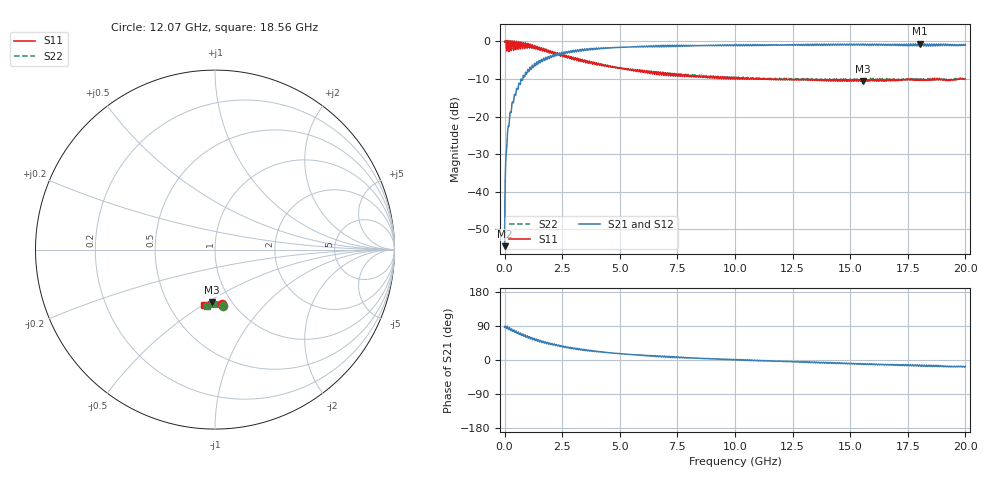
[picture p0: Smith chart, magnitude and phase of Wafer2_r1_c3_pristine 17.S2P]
!  2-Port S-parameters saved by WinCal
! VAR MeasName=S-Parameters (CALIBRATED_DATA) read from VNA (P5004A)
! VAR MeasDate=24/04/2024 16:21:32
! VAR NAME=Wafer2_r1_c3_pristine 17
! VAR FILENAME=Wafer2_r1_c3_pristine 17.S2P
! VAR DATE=24/04/2024 16:21:32
! VAR PHYS_PORTS=1,2
! VAR ObjTypeName=DATASET
! VAR IndexType=Frequency
# Hz S MA R 50
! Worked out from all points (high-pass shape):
!   4999 points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, 4.01 MHz to 20 GHz, reference 50 ohm
!   highest |S21| = -0.64 dB at 18.04 GHz (marker M1); lowest = -54.5 dB at 4.01 MHz (marker M2)
!   |S21| within 3 dB of the highest: 2.252 GHz to 2.321 GHz (69.22 MHz wide, 3.03 % of centre); 2.337 GHz to end of sweep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
!   lowest |S11| = -10.6 dB at 15.56 GHz (marker M3), VSWR 1.83, Z = 40.6 - j26 ohm
!   |S11| at or under -10 dB: 11.92 GHz to 12.02 GHz (96.91 MHz wide, 0.81 % of centre); 12.02 GHz to 18.46 GHz (6.437 GHz wide, 42.2 % of centre); 18.97 GHz to 19.68 GHz (712.7 MHz wide, 3.69 % of centre)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
!   |S22| runs from -10.7 to 0.2 dB; largest |S21 - S12| = 0.015
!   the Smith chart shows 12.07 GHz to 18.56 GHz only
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4009798  0.988 -3.1  0.001894 86.0  0.001922 86.1  0.9875 -3.0
7.602417e7  0.9006 -2.4  0.03334 83.5  0.03356 84.4  0.9132 -2.3
1.080306e8  0.7904 -5.1  0.04454 87.5  0.0459 87.0  0.8216 -4.4
1.400369e8  1.025 -4.0  0.06647 84.3  0.06609 84.3  1.019 -4.2
1.840457e8  0.7686 -2.9  0.07431 81.5  0.07657 82.4  0.7957 -3.5
2.480585e8  0.9945 -8.6  0.1139 79.4  0.1127 79.5  1.003 -8.3
3.440777e8  0.9881 -11.5  0.156 76.4  0.1549 76.4  0.9864 -11.2
4.520992e8  0.9493 -14.1  0.1955 73.5  0.1948 73.8  0.9516 -13.9
6.241335e8  0.9845 -18.4  0.2779 68.9  0.2775 68.8  0.9843 -18.2
8.041695e8  0.9137 -20.6  0.34 67.5  0.3442 67.0  0.9419 -20.4
1.004209e9  0.9256 -25.6  0.4182 61.6  0.4191 61.7  0.9355 -25.1
1.552319e9  0.7657 -35.5  0.523 50.8  0.524 50.5  0.7632 -35.1
2.436495e9  0.6402 -47.5  0.6705 37.5  0.6697 37.6  0.6407 -46.6
3.340676e9  0.5486 -55.0  0.7561 28.9  0.7556 28.9  0.5476 -54.0
4.752957e9  0.4552 -65.3  0.8233 18.1  0.8244 18.1  0.4561 -64.3
6.673341e9  0.3938 -72.1  0.8853 9.9  0.8846 9.6  0.39 -70.1
1.0002e10  0.3175 -82.3  0.8789 -0.2  0.8739 -0.2  0.3191 -79.4
1.333467e10  0.313 -85.8  0.891 -4.9  0.889 -4.7  0.3205 -82.9
1.555911e10  0.2935 -93.8  0.9246 -10.7  0.9203 -10.2  0.295 -90.7
1.667134e10  0.2989 -96.9  0.9011 -13.6  0.8982 -12.7  0.3114 -93.0
1.803561e10  0.3044 -96.0  0.9288 -14.6  0.9313 -15.2  0.3022 -97.1
2e10  0.3167 -97.4  0.892 -17.0  0.8949 -17.0  0.3183 -95.5
